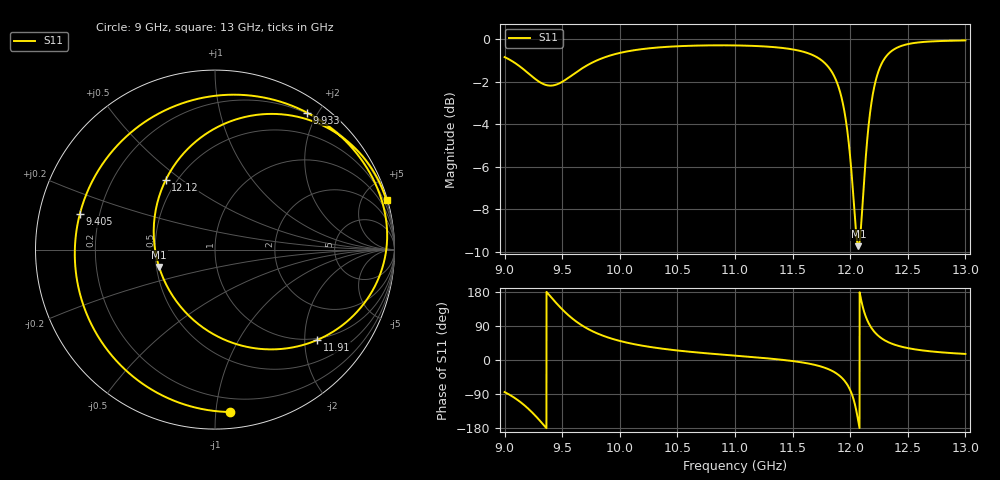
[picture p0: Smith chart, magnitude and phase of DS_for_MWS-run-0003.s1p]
! TOUCHSTONE file generated by CST DESIGN STUDIO
! Date and time: Tue Feb  4 13:41:02 2025
! Project name: C:\Work\MatlabApps\UnitCellOptimizationMatlab\CST\unitcell.cst
! Tree item: Tasks\Sweep1\SPara1\S-Parameters
! Header version: 2024
! Port assignment regex: !\s*Touchstone port\s*([0-9]+)\s*=\s*(CST MWS port|CST DES external port|CST DES block port)\s*(.+)\s* \(\"(.*)\"\)(\s*mode\s*([0-9]+))?.*
! Touchstone port assignment:
! Touchstone port 1 = CST DES external port 1 ("")
# GHz S MA R 50
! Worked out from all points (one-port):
!   4001 points, 9 GHz to 13 GHz, reference 50 ohm
!   lowest |S11| = -9.7 dB at 12.07 GHz (marker M1), VSWR 1.97, Z = 25.8 - j5.61 ohm
!   |S11| at or under -10 dB: nowhere
!   S11 on the Smith chart (normalised r, x): 9 GHz: 0.11, -1.09; 9.405 GHz: 0.13, +0.13; 9.933 GHz: 0.19, +1.86; 11.91 GHz: 0.96, -2.30; 12.12 GHz: 0.44, +0.44; 13 GHz: 0.14, +7.11
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9  0.9089 -84.6
9.106  0.8745 -104.0
9.197  0.8364 -126.2
9.309  0.7925 -161.1
9.405  0.7788 165.2
9.5  0.7949 133.7
9.58  0.8219 111.4
9.669  0.8538 91.7
9.796  0.8915 71.3
9.933  0.9196 56.0
10  0.9296 50.3
10.216  0.9507 36.7
10.5  0.9639 25.1
11  0.9683 11.5
11.5  0.9477 -2.8
11.762  0.8886 -18.7
11.907  0.7607 -41.4
11.961  0.649 -58.9
12  0.5281 -79.4
12.035  0.4006 -110.0
12.071  0.3263 -162.7
12.096  0.3692 157.1
12.123  0.4755 125.3
12.17  0.664 91.8
12.224  0.8053 69.7
12.336  0.9276 46.3
12.5  0.975 31.4
13  0.9947 16.0
